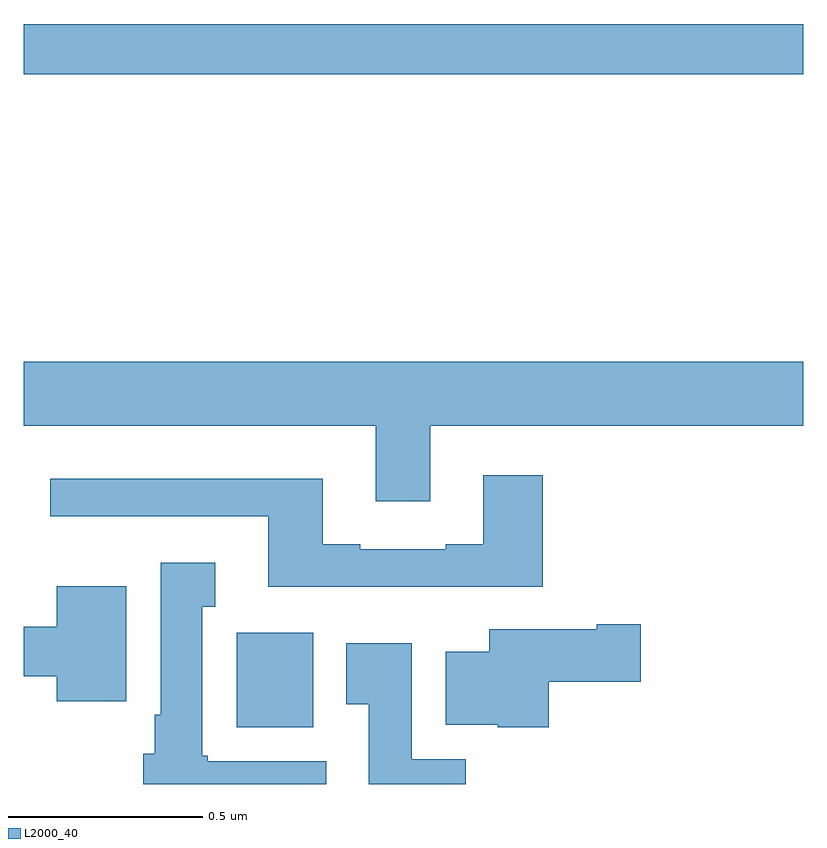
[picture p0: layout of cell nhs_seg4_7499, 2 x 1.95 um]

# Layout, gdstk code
import gdstk
lib = gdstk.Library(unit=1e-6, precision=1e-09)
def R(c, l, rs):  # rectangles x0, y0, x1, y1
    for r in rs: c.add(gdstk.rectangle(r[:2], r[2:], *l))
def P(c, l, *ps):  # polygons
    for p in ps: c.add(gdstk.Polygon(p, *l))
L2000_40 = (2000, 40)

nhs_seg4_7499 = lib.new_cell('nhs_seg4_7499')
R(nhs_seg4_7499, L2000_40, [(203.546,796.046,203.743,796.288), (203,797.722,205,797.851)])
P(nhs_seg4_7499, L2000_40, [(204.043,796.82),(205,796.82),(205,796.984),(203,796.984),(203,796.82),(203.903,796.82),(203.903,796.626),(204.043,796.626)],
  [(204.332,796.693),(204.179,796.693),(204.179,796.516),(204.083,796.516),(204.083,796.503),(203.863,796.503),(203.863,796.516),(203.767,796.516),(203.767,796.684),(203.067,796.684),(203.067,796.587),(203.627,796.587),(203.627,796.406),(204.332,796.406)],
  [(203.776,795.958),(203.472,795.958),(203.472,795.972),(203.458,795.972),(203.458,796.355),(203.491,796.355),(203.491,796.468),(203.351,796.468),(203.351,796.078),(203.336,796.078),(203.336,795.978),(203.306,795.978),(203.306,795.9),(203.776,795.9)],
  [(203.263,796.408),(203.084,796.408),(203.084,796.304),(203,796.304),(203,796.176),(203.084,796.176),(203.084,796.112),(203.263,796.112)],
  [(204.347,796.163),(204.583,796.163),(204.583,796.31),(204.47,796.31),(204.47,796.297),(204.194,796.297),(204.194,796.24),(204.083,796.24),(204.083,796.052),(204.216,796.052),(204.216,796.046),(204.347,796.046)],
  [(204.134,795.964),(203.995,795.964),(203.995,796.261),(203.828,796.261),(203.828,796.105),(203.885,796.105),(203.885,795.9),(204.134,795.9)])

lib.write_gds('nhs_seg4_7499.gds')
